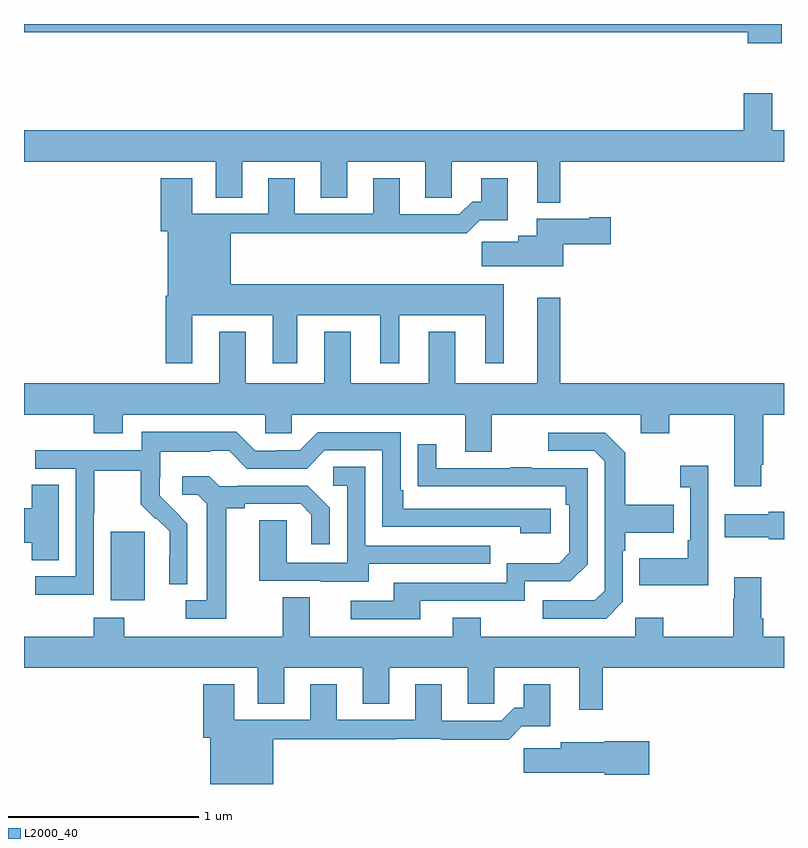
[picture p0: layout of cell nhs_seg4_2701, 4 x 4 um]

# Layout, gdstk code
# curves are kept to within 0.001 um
import gdstk
lib = gdstk.Library(unit=1e-6, precision=1e-09)
def R(c, l, rs):  # rectangles x0, y0, x1, y1
    for r in rs: c.add(gdstk.rectangle(r[:2], r[2:], *l))
def P(c, l, *ps):  # polygons
    for p in ps: c.add(gdstk.Polygon(p, *l))
L2000_40 = (2000, 40)

nhs_seg4_2701 = lib.new_cell('nhs_seg4_2701')
R(nhs_seg4_2701, L2000_40, [(253.457,771.866,253.636,772.227)])
P(nhs_seg4_2701, L2000_40, [(256.987,774.9),(253,774.9),(253,774.856),(256.808,774.856),(256.808,774.8),(256.987,774.8)],
  [(253,774.176),(254.009,774.176),(254.009,773.986),(254.149,773.986),(254.149,774.176),(254.561,774.176),(254.561,773.986),(254.701,773.986),(254.701,774.176),(255.113,774.176),(255.113,773.986),(255.252,773.986),(255.252,774.176),(255.701,774.176),(255.701,773.96),(255.823,773.96),(255.823,774.176),(257,774.176),(257,774.34),(256.939,774.34),(256.939,774.535),(256.787,774.535),(256.787,774.34),(253,774.34)],
  [(253.885,773.366),(254.309,773.366),(254.309,773.115),(254.437,773.115),(254.437,773.366),(254.876,773.366),(254.876,773.115),(254.974,773.115),(254.974,773.366),(255.428,773.366),(255.428,773.115),(255.526,773.115),(255.526,773.53),(254.089,773.53),(254.089,773.8),(255.073,773.8),(255.073,773.798),(255.329,773.798),(255.398,773.867),(255.547,773.867),(255.547,774.088),(255.407,774.088),(255.407,773.965),(255.358,773.965),(255.291,773.898),(254.977,773.898),(254.977,774.088),(254.837,774.088),(254.837,773.901),(254.425,773.901),(254.425,774.088),(254.285,774.088),(254.285,773.901),(253.885,773.901),(253.885,774.088),(253.721,774.088),(253.721,773.808),(253.757,773.808),(253.757,773.47),(253.745,773.47),(253.745,773.115),(253.885,773.115)],
  [(255.838,773.741),(256.087,773.741),(256.087,773.883),(255.974,773.883),(255.974,773.875),(255.698,773.875),(255.698,773.785),(255.602,773.785),(255.602,773.753),(255.408,773.753),(255.408,773.624),(255.838,773.624)],
  [(256.879,772.579),(256.892,772.579),(256.892,772.844),(257,772.844),(257,773.008),(255.823,773.008),(255.823,773.458),(255.701,773.458),(255.701,773.008),(255.271,773.008),(255.271,773.281),(255.131,773.281),(255.131,773.008),(254.719,773.008),(254.719,773.281),(254.579,773.281),(254.579,773.008),(254.167,773.008),(254.167,773.281),(254.027,773.281),(254.027,773.008),(253,773.008),(253,772.844),(253.367,772.844),(253.367,772.745),(253.519,772.745),(253.519,772.844),(254.271,772.844),(254.271,772.746),(254.409,772.746),(254.409,772.844),(255.323,772.844),(255.323,772.65),(255.463,772.65),(255.463,772.844),(256.247,772.844),(256.247,772.745),(256.395,772.745),(256.395,772.844),(256.739,772.844),(256.739,772.467),(256.879,772.467)],
  [(253.368,772.324),(253.371,772.324),(253.371,772.548),(253.615,772.548),(253.615,772.373),(253.692,772.296),(253.695,772.299),(253.766,772.229),(253.766,772.106),(253.764,772.106),(253.764,771.952),(253.86,771.952),(253.86,772.27),(253.714,772.418),(253.714,772.515),(253.716,772.515),(253.716,772.649),(253.979,772.649),(253.979,772.653),(254.079,772.653),(254.172,772.56),(254.487,772.56),(254.583,772.656),(254.886,772.656),(254.886,772.254),(255.611,772.254),(255.611,772.22),(255.772,772.22),(255.772,772.35),(254.995,772.35),(254.995,772.447),(254.982,772.447),(254.982,772.752),(254.547,772.752),(254.451,772.656),(254.333,772.656),(254.333,772.653),(254.217,772.653),(254.117,772.753),(253.62,772.753),(253.62,772.656),(253.059,772.656),(253.059,772.56),(253.272,772.56),(253.272,771.993),(253.059,771.993),(253.059,771.895),(253.368,771.895)],
  [(256.152,771.858),(256.152,772.127),(256.165,772.127),(256.165,772.223),(256.421,772.223),(256.421,772.371),(256.165,772.371),(256.165,772.643),(256.059,772.749),(255.759,772.749),(255.759,772.653),(256.002,772.653),(256.056,772.599),(256.056,771.918),(256.005,771.867),(255.729,771.867),(255.729,771.771),(256.065,771.771)],
  [(255.085,771.864),(255.636,771.864),(255.636,771.966),(255.876,771.966),(255.966,772.056),(255.966,772.563),(255.671,772.563),(255.671,772.568),(255.559,772.568),(255.559,772.563),(255.169,772.563),(255.169,772.687),(255.073,772.687),(255.073,772.468),(255.85,772.467),(255.85,772.37),(255.87,772.37),(255.87,772.116),(255.817,772.063),(255.54,772.063),(255.54,771.96),(254.945,771.96),(254.945,771.864),(254.721,771.864),(254.721,771.768),(255.085,771.768)],
  [(256.602,772.576),(256.455,772.576),(256.455,772.463),(256.506,772.463),(256.506,772.183),(256.494,772.183),(256.494,772.087),(256.237,772.087),(256.237,771.947),(256.602,771.947)],
  [(254.815,772.059),(255.455,772.059),(255.455,772.155),(254.796,772.155),(254.796,772.571),(254.628,772.571),(254.628,772.47),(254.7,772.47),(254.7,772.065),(254.382,772.065),(254.382,772.289),(254.237,772.289),(254.237,771.969),(254.561,771.969),(254.561,771.965),(254.815,771.965)],
  [(254.065,772.352),(254.161,772.352),(254.161,772.374),(254.456,772.374),(254.513,772.317),(254.513,772.161),(254.61,772.161),(254.61,772.354),(254.494,772.47),(254.122,772.47),(254.122,772.467),(254.028,772.467),(253.976,772.519),(253.833,772.519),(253.833,772.422),(253.914,772.422),(253.961,772.375),(253.961,771.867),(253.851,771.867),(253.851,771.771),(254.065,771.771)],
  [(253.183,772.475),(253.04,772.475),(253.04,772.352),(253,772.352),(253,772.169),(253.04,772.169),(253.04,772.078),(253.183,772.078)],
  [(257,772.334),(256.919,772.334),(256.919,772.321),(256.689,772.321),(256.689,772.199),(256.919,772.199),(256.919,772.187),(257,772.187)],
  [(256.045,771.512),(257,771.512),(257,771.676),(256.892,771.676),(256.892,771.772),(256.879,771.772),(256.879,771.988),(256.739,771.988),(256.739,771.875),(256.732,771.875),(256.732,771.676),(256.365,771.676),(256.365,771.775),(256.218,771.775),(256.218,771.676),(255.405,771.676),(255.405,771.775),(255.257,771.775),(255.257,771.676),(254.503,771.676),(254.503,771.884),(254.363,771.884),(254.363,771.676),(253.527,771.676),(253.527,771.775),(253.367,771.775),(253.367,771.676),(253,771.676),(253,771.512),(254.231,771.512),(254.231,771.322),(254.371,771.322),(254.371,771.512),(254.783,771.512),(254.783,771.322),(254.923,771.322),(254.923,771.512),(255.335,771.512),(255.335,771.322),(255.474,771.322),(255.474,771.512),(255.923,771.512),(255.923,771.291),(256.045,771.291)],
  [(254.311,771.136),(254.963,771.136),(254.963,771.139),(255.195,771.139),(255.195,771.134),(255.551,771.134),(255.62,771.203),(255.769,771.203),(255.769,771.424),(255.629,771.424),(255.629,771.301),(255.58,771.301),(255.513,771.234),(255.199,771.234),(255.199,771.424),(255.059,771.424),(255.059,771.237),(254.647,771.237),(254.647,771.424),(254.507,771.424),(254.507,771.237),(254.107,771.237),(254.107,771.424),(253.943,771.424),(253.943,771.144),(253.979,771.144),(253.979,770.9),(254.311,770.9)],
  [(256.291,771.126),(256.056,771.126),(256.056,771.121),(255.824,771.121),(255.824,771.089),(255.63,771.089),(255.63,770.96),(256.056,770.96),(256.056,770.948),(256.291,770.948)])

lib.write_gds('nhs_seg4_2701.gds')
